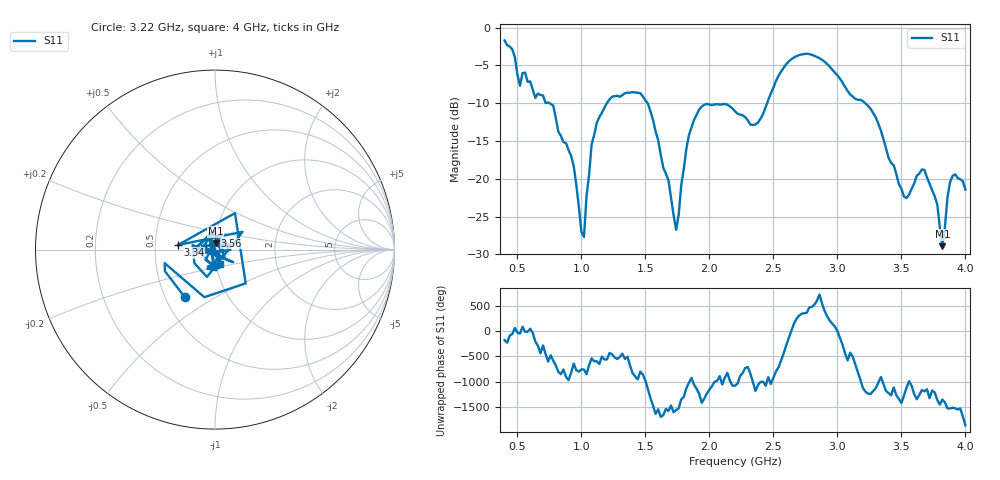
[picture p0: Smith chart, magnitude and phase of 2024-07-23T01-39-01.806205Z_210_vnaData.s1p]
!Created with skrf (http://scikit-rf.org).
# Hz S RI R 50.0
!freq ReS11 ImS11
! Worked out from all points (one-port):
!   181 points, 400 MHz to 4 GHz, reference 50 ohm
!   lowest |S11| = -28.9 dB at 3.82 GHz (marker M1), VSWR 1.07, Z = 50.3 + j3.58 ohm
!   |S11| at or under -10 dB: 750.3 MHz to 1.199 GHz (448.4 MHz wide, 46 % of centre); 1.518 GHz to 2.45 GHz (932.7 MHz wide, 47 % of centre); 3.217 GHz to end of sweep
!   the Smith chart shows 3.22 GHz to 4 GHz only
!   S11 on the Smith chart (normalised r, x): 3.22 GHz: 0.63, -0.37; 3.34 GHz: 0.66, +0.03; 3.56 GHz: 0.99, +0.16; 4 GHz: 1.05, -0.17
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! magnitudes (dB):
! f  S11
! 400 MHz  -1.7
! 520 MHz  -7.7
! 560 MHz  -5.9
! 780 MHz  -10.3
! 860 MHz  -15.2
! 940 MHz  -18.3
! 1.02 GHz  -27.7
! 1.08 GHz  -15.4
! 1.12 GHz  -12.6
! 1.3 GHz  -9.1
! 1.52 GHz  -10.0
! 1.74 GHz  -26.8
! 1.76 GHz  -24.8
! 1.84 GHz  -14.2
! 1.92 GHz  -10.8
! 2.2 GHz  -11.1
! 2.38 GHz  -12.6
! 2.66 GHz  -3.9
! 2.88 GHz  -4.2
! 3.1 GHz  -8.8
! 3.22 GHz  -10.0
! 3.34 GHz  -13.6
! 3.56 GHz  -22.1
! 3.68 GHz  -18.8
! 3.78 GHz  -23.4
! 3.82 GHz  -28.9
! 3.9 GHz  -19.6
! 4 GHz  -21.4
